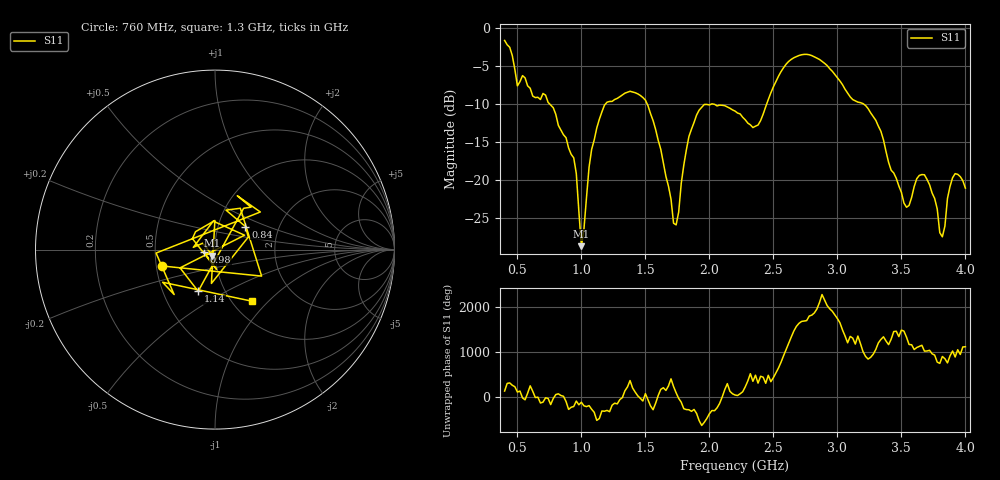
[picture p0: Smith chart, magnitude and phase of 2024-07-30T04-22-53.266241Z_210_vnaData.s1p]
!Created with skrf (http://scikit-rf.org).
# Hz S RI R 50.0
!freq ReS11 ImS11
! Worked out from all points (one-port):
!   181 points, 400 MHz to 4 GHz, reference 50 ohm
!   lowest |S11| = -28.7 dB at 1 GHz (marker M1), VSWR 1.08, Z = 48.5 - j3.28 ohm
!   |S11| at or under -10 dB: 751.5 MHz to 1.188 GHz (436.9 MHz wide, 45 % of centre); 1.514 GHz to 2.018 GHz (504.4 MHz wide, 28.6 % of centre); 3.204 GHz to end of sweep (the widest 3 of 4)
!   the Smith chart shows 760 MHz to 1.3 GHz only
!   S11 on the Smith chart (normalised r, x): 760 MHz: 0.53, -0.11; 840 MHz: 1.35, +0.36; 980 MHz: 0.88, -0.02; 1.14 GHz: 0.75, -0.37; 1.3 GHz: 1.22, -0.80
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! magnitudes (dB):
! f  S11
! 400 MHz  -1.6
! 500 MHz  -7.6
! 760 MHz  -10.1
! 840 MHz  -13.4
! 860 MHz  -14.1
! 940 MHz  -17.1
! 980 MHz  -24.1
! 1 GHz  -28.7
! 1.06 GHz  -18.3
! 1.14 GHz  -12.0
! 1.3 GHz  -9.1
! 1.5 GHz  -9.5
! 1.62 GHz  -16.0
! 1.72 GHz  -25.7
! 1.76 GHz  -24.2
! 1.84 GHz  -14.3
! 1.92 GHz  -10.8
! 2.2 GHz  -10.9
! 2.38 GHz  -12.8
! 2.66 GHz  -3.9
! 2.86 GHz  -4.1
! 3.1 GHz  -9.1
! 3.3 GHz  -12.2
! 3.56 GHz  -23.4
! 3.68 GHz  -19.3
! 3.82 GHz  -27.5
! 3.9 GHz  -19.7
! 4 GHz  -21.1
